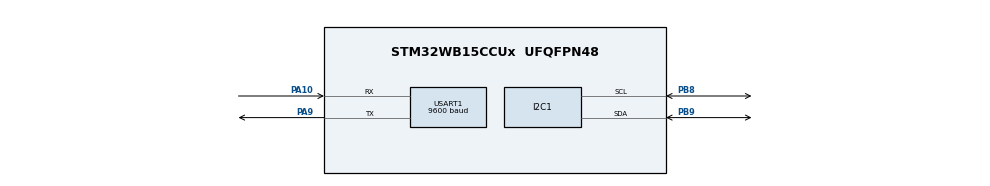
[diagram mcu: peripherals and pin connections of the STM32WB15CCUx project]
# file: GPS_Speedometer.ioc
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Mcu.Family=STM32WB
Mcu.Name=STM32WB15CCUx
Mcu.Package=UFQFPN48
NVIC.PriorityGroup=NVIC_PRIORITYGROUP_4
NVIC.USART1_IRQn=true\:0\:0\:false\:false\:true\:true\:true\:true
OSC_IN.Mode=HSE-External-Oscillator
OSC_IN.Signal=RCC_OSC_IN
OSC_OUT.Mode=HSE-External-Oscillator
OSC_OUT.Signal=RCC_OSC_OUT
PA10.Mode=Asynchronous
PA10.Signal=USART1_RX
PA9.Mode=Asynchronous
PA9.Signal=USART1_TX
PB8.Mode=I2C
PB8.Signal=I2C1_SCL
PB9.Mode=I2C
PB9.Signal=I2C1_SDA
PC14-OSC32_IN.Mode=LSE-External-Oscillator
PC14-OSC32_IN.Signal=RCC_OSC32_IN
PC15-OSC32_OUT.Mode=LSE-External-Oscillator
PC15-OSC32_OUT.Signal=RCC_OSC32_OUT
ProjectManager.HeapSize=0x200
ProjectManager.StackSize=0x400
ProjectManager.TargetToolchain=STM32CubeIDE
RCC.APB3Freq_Value=4000000
RCC.HSE_VALUE=8000000
RCC.HSI_VALUE=16000000
RCC.VCOOutputFreq_Value=32000000
USART1.BaudRate=9600
USART1.VirtualMode-Asynchronous=VM_ASYNC
VP_MEMORYMAP_VS_MEMORYMAP.Mode=CurAppReg
board=custom

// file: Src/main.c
/* USER CODE BEGIN Header */
/**
  ******************************************************************************
  * @file           : main.c
  * @brief          : Main program body
  ******************************************************************************
  * @attention
  *
  * Copyright (c) 2023 STMicroelectronics.
  * All rights reserved.
  *
  * This software is licensed under terms that can be found in the LICENSE file
  * in the root directory of this software component.
  * If no LICENSE file comes with this software, it is provided AS-IS.
  *
  ******************************************************************************
  */
/* USER CODE END Header */
#include "main.h"

/* USER CODE BEGIN Includes */
#include <stdlib.h>
#include <stdio.h>
#include <string.h>
#include <i2c_lcd.h>
#include <nmea.h>
#include <nmea_parse.h>
/* USER CODE END Includes */

/* USER CODE BEGIN PD */
#define TX_BUFFER_SIZE 512
/* USER CODE END PD */

I2C_HandleTypeDef hi2c1;
i2cLcd_HandleTypeDef h_lcd;
UART_HandleTypeDef huart1;
uint8_t Flag = 0;
/* USER CODE BEGIN PV */
uint8_t tx_buffer[TX_BUFFER_SIZE];
//GPSData myData;
GPS myData;
/* USER CODE END PV */

void SystemClock_Config(void);
void PeriphCommonClock_Config(void);
static void MX_GPIO_Init(void);
static void MX_I2C1_Init(void);
static void MX_USART1_UART_Init(void);
void display_lat_long(void);
void display_speed(void);
void display_message(void);

int main(void)
{
  /* USER CODE BEGIN 1 */
	uint8_t i2c_lcd_addr = (0x27<<1);
  /* USER CODE END 1 */

  /* MCU Configuration--------------------------------------------------------*/

  /* Reset of all peripherals, Initializes the Flash interface and the Systick. */
  HAL_Init();

  /* Configure the system clock */
  SystemClock_Config();

/* Configure the peripherals common clocks */
  PeriphCommonClock_Config();

  /* Initialize all configured peripherals */
  MX_GPIO_Init();
  MX_I2C1_Init();
  MX_USART1_UART_Init();
  /* USER CODE BEGIN 2 */
  i2cLcd_CreateHandle(&h_lcd, &hi2c1, i2c_lcd_addr);
  i2cLcd_Init(&h_lcd);
  i2cLcd_ClearDisplay(&h_lcd);

  //HAL_UART_Receive_IT(&huart1, tx_buffer, TX_BUFFER_SIZE);
  /* USER CODE END 2 */

  /* Infinite loop */
  /* USER CODE BEGIN WHILE */
  while (1)
  {
	  HAL_UART_Receive_IT(&huart1, tx_buffer, TX_BUFFER_SIZE);
	  if (Flag ==1) {
		  nmea_parse(&myData, tx_buffer);
		  //display_lat_long();
		  //HAL_Delay(1000);
		  display_speed();
		  //display_message();
		  HAL_Delay(100);
	  }
	  /* USER CODE END WHILE */

  }
}

void SystemClock_Config(void)
{
  RCC_OscInitTypeDef RCC_OscInitStruct = {0};
  RCC_ClkInitTypeDef RCC_ClkInitStruct = {0};

  /** Configure LSE Drive Capability
  */
  HAL_PWR_EnableBkUpAccess();
  __HAL_RCC_LSEDRIVE_CONFIG(RCC_LSEDRIVE_MEDIUMHIGH);

  /** Initializes the RCC Oscillators according to the specified parameters
  * in the RCC_OscInitTypeDef structure.
  */
  RCC_OscInitStruct.OscillatorType = RCC_OSCILLATORTYPE_HSI|RCC_OSCILLATORTYPE_HSE
                              |RCC_OSCILLATORTYPE_LSE|RCC_OSCILLATORTYPE_MSI;
  RCC_OscInitStruct.HSEState = RCC_HSE_ON;
  RCC_OscInitStruct.LSEState = RCC_LSE_ON;
  RCC_OscInitStruct.HSIState = RCC_HSI_ON;
  RCC_OscInitStruct.MSIState = RCC_MSI_ON;
  RCC_OscInitStruct.HSICalibrationValue = RCC_HSICALIBRATION_DEFAULT;
  RCC_OscInitStruct.MSICalibrationValue = RCC_MSICALIBRATION_DEFAULT;
  RCC_OscInitStruct.MSIClockRange = RCC_MSIRANGE_6;
  RCC_OscInitStruct.PLL.PLLState = RCC_PLL_NONE;
  if (HAL_RCC_OscConfig(&RCC_OscInitStruct) != HAL_OK)
  {
    Error_Handler();
  }

  /** Configure the SYSCLKSource, HCLK, PCLK1 and PCLK2 clocks dividers
  */
  RCC_ClkInitStruct.ClockType = RCC_CLOCKTYPE_HCLK4|RCC_CLOCKTYPE_HCLK2
                              |RCC_CLOCKTYPE_HCLK|RCC_CLOCKTYPE_SYSCLK
                              |RCC_CLOCKTYPE_PCLK1|RCC_CLOCKTYPE_PCLK2;
  RCC_ClkInitStruct.SYSCLKSource = RCC_SYSCLKSOURCE_MSI;
  RCC_ClkInitStruct.AHBCLKDivider = RCC_SYSCLK_DIV1;
  RCC_ClkInitStruct.APB1CLKDivider = RCC_HCLK_DIV1;
  RCC_ClkInitStruct.APB2CLKDivider = RCC_HCLK_DIV1;
  RCC_ClkInitStruct.AHBCLK2Divider = RCC_SYSCLK_DIV1;
  RCC_ClkInitStruct.AHBCLK4Divider = RCC_SYSCLK_DIV1;

  if (HAL_RCC_ClockConfig(&RCC_ClkInitStruct, FLASH_LATENCY_0) != HAL_OK)
  {
    Error_Handler();
  }

  /** Enable MSI Auto calibration
  */
  HAL_RCCEx_EnableMSIPLLMode();
}

void PeriphCommonClock_Config(void)
{
  RCC_PeriphCLKInitTypeDef PeriphClkInitStruct = {0};

  /** Initializes the peripherals clock
  */
  PeriphClkInitStruct.PeriphClockSelection = RCC_PERIPHCLK_SMPS;
  PeriphClkInitStruct.SmpsClockSelection = RCC_SMPSCLKSOURCE_HSI;
  PeriphClkInitStruct.SmpsDivSelection = RCC_SMPSCLKDIV_RANGE1;

  if (HAL_RCCEx_PeriphCLKConfig(&PeriphClkInitStruct) != HAL_OK)
  {
    Error_Handler();
  }
}

static void MX_I2C1_Init(void)
{

  hi2c1.Instance = I2C1;
  hi2c1.Init.Timing = 0x00000E14;
  hi2c1.Init.OwnAddress1 = 0;
  hi2c1.Init.AddressingMode = I2C_ADDRESSINGMODE_7BIT;
  hi2c1.Init.DualAddressMode = I2C_DUALADDRESS_DISABLE;
  hi2c1.Init.OwnAddress2 = 0;
  hi2c1.Init.OwnAddress2Masks = I2C_OA2_NOMASK;
  hi2c1.Init.GeneralCallMode = I2C_GENERALCALL_DISABLE;
  hi2c1.Init.NoStretchMode = I2C_NOSTRETCH_DISABLE;
  if (HAL_I2C_Init(&hi2c1) != HAL_OK)
  {
    Error_Handler();
  }

  /** Configure Analogue filter
  */
  if (HAL_I2CEx_ConfigAnalogFilter(&hi2c1, I2C_ANALOGFILTER_ENABLE) != HAL_OK)
  {
    Error_Handler();
  }

  /** Configure Digital filter
  */
  if (HAL_I2CEx_ConfigDigitalFilter(&hi2c1, 0) != HAL_OK)
  {
    Error_Handler();
  }

}

static void MX_USART1_UART_Init(void)
{

  huart1.Instance = USART1;
  huart1.Init.BaudRate = 9600;
  huart1.Init.WordLength = UART_WORDLENGTH_8B;
  huart1.Init.StopBits = UART_STOPBITS_1;
  huart1.Init.Parity = UART_PARITY_NONE;
  huart1.Init.Mode = UART_MODE_TX_RX;
  huart1.Init.HwFlowCtl = UART_HWCONTROL_NONE;
  huart1.Init.OverSampling = UART_OVERSAMPLING_16;
  huart1.Init.OneBitSampling = UART_ONE_BIT_SAMPLE_DISABLE;
  huart1.Init.ClockPrescaler = UART_PRESCALER_DIV1;
  huart1.AdvancedInit.AdvFeatureInit = UART_ADVFEATURE_NO_INIT;
  if (HAL_UART_Init(&huart1) != HAL_OK)
  {
    Error_Handler();
  }
  if (HAL_UARTEx_SetTxFifoThreshold(&huart1, UART_TXFIFO_THRESHOLD_1_8) != HAL_OK)
  {
    Error_Handler();
  }
  if (HAL_UARTEx_SetRxFifoThreshold(&huart1, UART_RXFIFO_THRESHOLD_1_8) != HAL_OK)
  {
    Error_Handler();
  }
  if (HAL_UARTEx_DisableFifoMode(&huart1) != HAL_OK)
  {
    Error_Handler();
  }

}

static void MX_GPIO_Init(void)
{

  /* GPIO Ports Clock Enable */
  __HAL_RCC_GPIOC_CLK_ENABLE();
  __HAL_RCC_GPIOB_CLK_ENABLE();
  __HAL_RCC_GPIOA_CLK_ENABLE();

}

/* USER CODE BEGIN 4 */
void HAL_UART_RxCpltCallback(UART_HandleTypeDef *huart)
{
    Flag = 1;
}

void display_message(void) {
	char strData[32];

	i2cLcd_ClearDisplay(&h_lcd);
	HAL_Delay(20);
	int i = 0;
	sprintf(strData, "GPS Speedometer");
	while(strData[i]) {
		i2cLcd_SendChar(&h_lcd, strData[i]);
		i++;
	}
	i = 0;
	i2cLcd_SetCursorPosition(&h_lcd, 0x40);
	sprintf(strData, "Go Dawgs!");
	while(strData[i]) {
		i2cLcd_SendChar(&h_lcd, strData[i]);
		i++;
	}
	Flag =0;
}

void display_speed(void) {
	char strData[32];
	double speed = myData.speed * 1.15078;

	i2cLcd_ClearDisplay(&h_lcd);
	HAL_Delay(20);
	int i = 0;
	sprintf(strData, "Current Speed:");
	while(strData[i]) {
		i2cLcd_SendChar(&h_lcd, strData[i]);
		i++;
	}
	i = 0;
	i2cLcd_SetCursorPosition(&h_lcd, 0x40);
	sprintf(strData, "%.2lf", speed);
	while(strData[i]) {
		i2cLcd_SendChar(&h_lcd, strData[i]);
		i++;
	}
	Flag =0;
}

void display_lat_long(void) {
	char strData[32];
	i2cLcd_ClearDisplay(&h_lcd);
		 HAL_Delay(20);
		 int i = 0;
		 sprintf(strData, "Long:");
		 while(strData[i]) {
			 i2cLcd_SendChar(&h_lcd, strData[i]);
		  	 i++;
		 }
		 i = 0;
		 sprintf(strData, "%.3lf", myData.longitude);
		 while(strData[i]) {
			 i2cLcd_SendChar(&h_lcd, strData[i]);
		  	 i++;
		 }

		 i2cLcd_SetCursorPosition(&h_lcd, 0x40);
		 i=0;
		 sprintf(strData, "Lat:");
		 	 while(strData[i]) {
		 		 i2cLcd_SendChar(&h_lcd, strData[i]);
		 	  	 i++;
		 	 }
		 	i=0;
		 	 sprintf(strData, "%.3lf", myData.latitude);
		 	 while(strData[i]) {
		 		 i2cLcd_SendChar(&h_lcd, strData[i]);
		 	  	 i++;
		 	 }
		 	Flag =0;
}
/* USER CODE END 4 */

void Error_Handler(void)
{
  __disable_irq();
  while (1)
  {
  }
}
